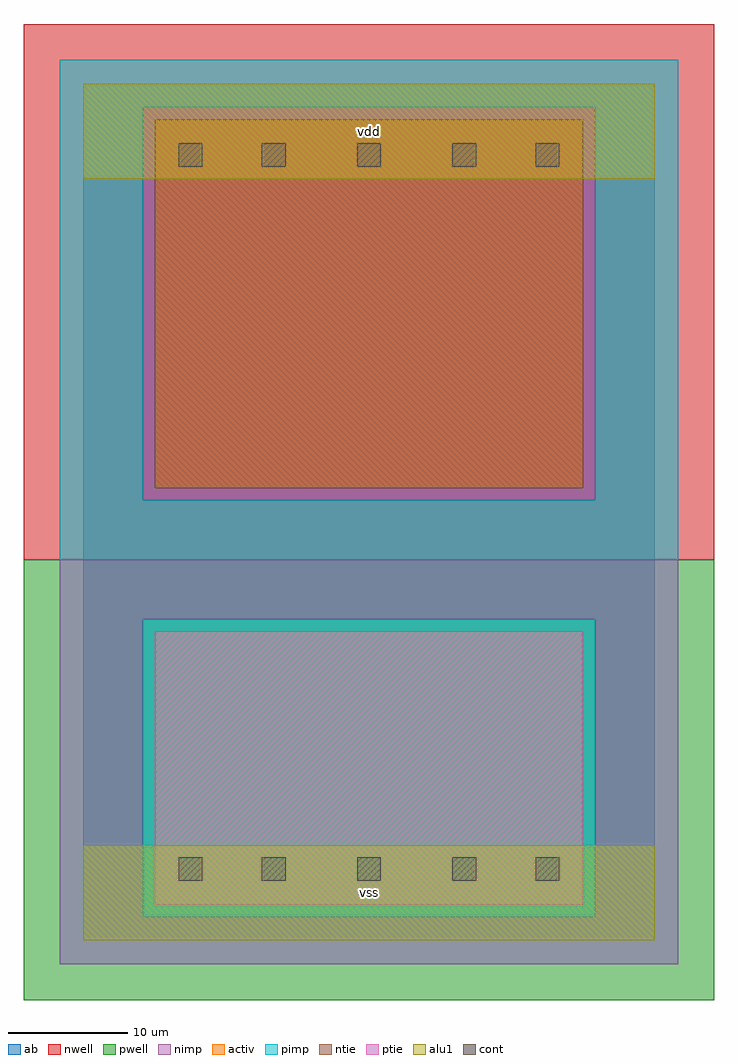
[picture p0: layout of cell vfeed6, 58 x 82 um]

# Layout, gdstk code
import gdstk
lib = gdstk.Library(unit=1e-6, precision=1e-09)
def R(c, l, rs):  # rectangles x0, y0, x1, y1
    for r in rs: c.add(gdstk.rectangle(r[:2], r[2:], *l))
def A(c, l, x, y, w, h, nx, ny, dx, dy):  # array of equal rectangles
    R(c, l, [(x+i*dx, y+j*dy, x+i*dx+w, y+j*dy+h) for i in range(nx) for j in range(ny)])
ntie = (5, 0)
ptie = (6, 0)
cont = (25, 0)
pwell = (41, 0)
nwell = (42, 0)
activ = (43, 0)
pimp = (44, 0)
nimp = (45, 0)
alu1 = (49, 0)
ab = (63, 0)

vfeed6 = lib.new_cell('vfeed6')
R(vfeed6, ntie, [(6,38,42,69)])
R(vfeed6, ptie, [(6,3,42,26)])
A(vfeed6, cont, 15, 5, 2, 2, 3, 2, 8, 60)
R(vfeed6, cont, [(8,5,10,7), (38,5,40,7), (8,65,10,67), (38,65,40,67)])
R(vfeed6, pwell, [(-5,-5,53,32)])
R(vfeed6, nwell, [(-5,32,53,77)])
R(vfeed6, activ, [(6,3,42,26), (6,38,42,69)])
R(vfeed6, pimp, [(5,2,43,27), (-2,32,50,37), (-2,37,5,70), (43,37,50,70), (-2,70,50,74)])
R(vfeed6, nimp, [(-2,-2,50,2), (-2,2,5,27), (43,2,50,27), (-2,27,50,32), (5,37,43,70)])
R(vfeed6, alu1, [(0,0,48,8), (0,64,48,72)])
R(vfeed6, ab, [(0,0,48,72)])
vfeed6.add(gdstk.Label('vss', (24,4), layer=49, texttype=0))
vfeed6.add(gdstk.Label('vdd', (24,68), layer=49, texttype=0))

lib.write_gds('vfeed6.gds')
